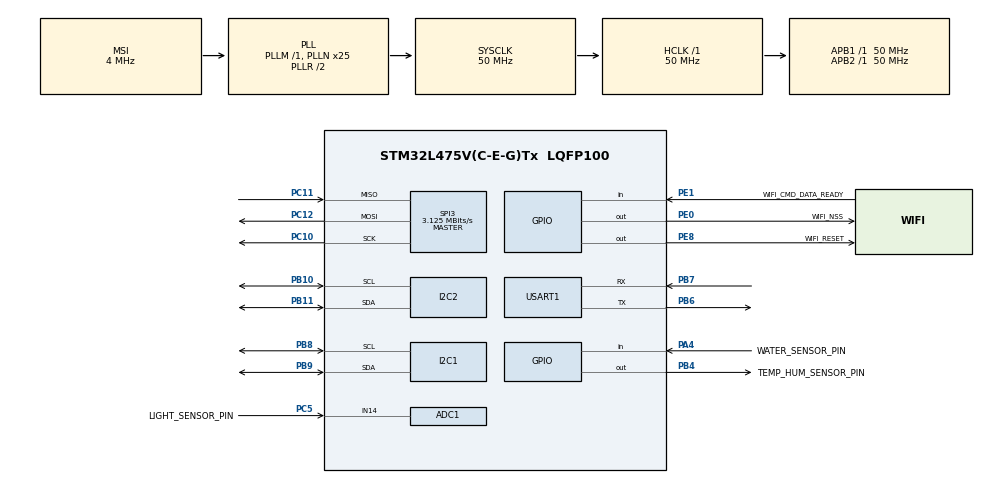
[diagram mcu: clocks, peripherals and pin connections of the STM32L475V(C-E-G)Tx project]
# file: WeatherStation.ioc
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ADC1.Channel-0\#ChannelRegularConversion=ADC_CHANNEL_14
ADC1.NbrOfConversionFlag=1
ADC1.OffsetNumber-0\#ChannelRegularConversion=ADC_OFFSET_NONE
ADC1.Rank-0\#ChannelRegularConversion=1
ADC1.SamplingTime-0\#ChannelRegularConversion=ADC_SAMPLETIME_2CYCLES_5
ADC1.master=1
I2C1.Timing=0x00C0EAFF
I2C2.Timing=0x00C0EAFF
IWDG.Prescaler=IWDG_PRESCALER_256
IWDG.Reload=2500
IWDG.Window=2500
Mcu.Family=STM32L4
Mcu.Name=STM32L475V(C-E-G)Tx
Mcu.Package=LQFP100
NVIC.PriorityGroup=NVIC_PRIORITYGROUP_4
NVIC.TIM1_UP_TIM16_IRQn=true\:15\:0\:false\:false\:true\:false\:true
NVIC.TimeBase=TIM1_UP_TIM16_IRQn
NVIC.TimeBaseIP=TIM1
PA4.GPIO_Label=WATER_SENSOR_PIN
PA4.Signal=GPIO_Input
PB10.GPIO_Pu=GPIO_PULLUP
PB10.Mode=I2C
PB10.Signal=I2C2_SCL
PB11.GPIO_Pu=GPIO_PULLUP
PB11.Mode=I2C
PB11.Signal=I2C2_SDA
PB4\ (NJTRST).GPIO_Label=TEMP_HUM_SENSOR_PIN
PB4\ (NJTRST).GPIO_ModeDefaultOutputPP=GPIO_MODE_OUTPUT_PP
PB4\ (NJTRST).PinState=GPIO_PIN_SET
PB4\ (NJTRST).Signal=GPIO_Output
PB6.Mode=Asynchronous
PB6.Signal=USART1_TX
PB7.Mode=Asynchronous
PB7.Signal=USART1_RX
PB8.Mode=I2C
PB8.Signal=I2C1_SCL
PB9.Mode=I2C
PB9.Signal=I2C1_SDA
PC10.Mode=Full_Duplex_Master
PC10.Signal=SPI3_SCK
PC11.Mode=Full_Duplex_Master
PC11.Signal=SPI3_MISO
PC12.Mode=Full_Duplex_Master
PC12.Signal=SPI3_MOSI
PC5.GPIO_Label=LIGHT_SENSOR_PIN
PC5.Signal=ADCx_IN14
PE0.GPIO_Label=WIFI_NSS
PE0.Signal=GPIO_Output
PE1.GPIO_Label=WIFI_CMD_DATA_READY
PE1.Signal=GPIO_Input
PE8.GPIO_Label=WIFI_RESET
PE8.Signal=GPIO_Output
ProjectManager.HeapSize=0x200
ProjectManager.StackSize=0x400
ProjectManager.TargetToolchain=STM32CubeIDE
RCC.ADCFreq_Value=32000000
RCC.AHBFreq_Value=50000000
RCC.APB1Freq_Value=50000000
RCC.APB1TimFreq_Value=50000000
RCC.APB2Freq_Value=50000000
RCC.APB2TimFreq_Value=50000000
RCC.CortexFreq_Value=50000000
RCC.HCLKFreq_Value=50000000
RCC.HSE_VALUE=8000000
RCC.HSI_VALUE=16000000
RCC.LSE_VALUE=32768
RCC.MSI_VALUE=4000000
RCC.PLLN=25
RCC.PLLSAI1N=16
RCC.SYSCLKFreq_VALUE=50000000
RCC.SYSCLKSource=RCC_SYSCLKSOURCE_PLLCLK
RCC.USBFreq_Value=32000000
RCC.VCOOutputFreq_Value=100000000
SH.ADCx_IN14.0=ADC1_IN14,IN14-Single-Ended
SPI3.BaudRatePrescaler=SPI_BAUDRATEPRESCALER_16
SPI3.CalculateBaudRate=3.125 MBits/s
SPI3.DataSize=SPI_DATASIZE_16BIT
SPI3.Direction=SPI_DIRECTION_2LINES
SPI3.Mode=SPI_MODE_MASTER
SPI3.VirtualType=VM_MASTER
TIM6.Prescaler=50
USART1.VirtualMode-Asynchronous=VM_ASYNC
VP_IWDG_VS_IWDG.Mode=IWDG_Activate
VP_RTC_VS_RTC_Activate.Mode=RTC_Enabled
VP_RTC_VS_RTC_WakeUp_intern.Mode=WakeUp
VP_SYS_VS_tim1.Mode=TIM1
VP_TIM6_VS_ClockSourceINT.Mode=Enable_Timer
board=B-L475E-IOT01A1

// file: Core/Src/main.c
/* USER CODE BEGIN Header */
/**
  ******************************************************************************
  * @file           : main.c
  * @brief          : Main program body
  ******************************************************************************
  * @attention
  *
  * <h2><center>&copy; Copyright (c) 2021 STMicroelectronics.
  * All rights reserved.</center></h2>
  *
  * This software component is licensed by ST under BSD 3-Clause license,
  * the "License"; You may not use this file except in compliance with the
  * License. You may obtain a copy of the License at:
  *                        opensource.org/licenses/BSD-3-Clause
  *
  ******************************************************************************
  */

/**
 * Breakout Board Pins:
 * A0: Light Sensor
 * D5: Temperature/Humidity Sensor
 * D7: Water Sensor
 */

/* USER CODE END Header */
#include "main.h"

/* USER CODE BEGIN Includes */
#include <stdio.h>
#include "lps22hb.h"
#include "lps22hb_ex.h"
#include "helper_functions.h"
#include "DHT.h"
#include "wifi.h"
#include "credentials.h"
/* USER CODE END Includes */

/* USER CODE BEGIN PD */

/* Define WiFi SSID and passphrase in credentials.h header file or! down below */
// #define WIFI_SSID ""
// #define WIFI_PASSPHRASE ""

#define REMOTE_IP_ADDRESS "broker.hivemq.com"
#define SUBSCRIBE_TOPIC ""
#define PUBLISH_TOPIC "ethz/weather_station"

/* USER CODE END PD */

ADC_HandleTypeDef hadc1;

I2C_HandleTypeDef hi2c1;
I2C_HandleTypeDef hi2c2;

IWDG_HandleTypeDef hiwdg;

RTC_HandleTypeDef hrtc;

SPI_HandleTypeDef hspi3;

TIM_HandleTypeDef htim6;

UART_HandleTypeDef huart1;

/* USER CODE BEGIN PV */

/* WiFi handle */
WIFI_HandleTypeDef hwifi;

/* USER CODE END PV */

void SystemClock_Config(void);
static void MX_GPIO_Init(void);
static void MX_I2C1_Init(void);
static void MX_ADC1_Init(void);
static void MX_USART1_UART_Init(void);
static void MX_I2C2_Init(void);
static void MX_TIM6_Init(void);
static void MX_SPI3_Init(void);
static void MX_IWDG_Init(void);
static void MX_RTC_Init(void);
/* USER CODE BEGIN PFP */

/* Function prototypes for LPS22HB communication */
lps22hb_err_t lps22hb_read(uint8_t reg, uint8_t *buf, uint8_t bytes);
lps22hb_err_t lps22hb_write(uint8_t reg, uint8_t *buf, uint8_t bytes);
void check_lps22hb_error(lps22hb_err_t err);
void sleepDelay(uint16_t delaytime);

/* Function prototypes for WiFi */
void USR_WIFI_Init();

/* USER CODE END PFP */

/* USER CODE BEGIN 0 */
lps22hb_t lps22hb = LPS22HB_DEFAULT_REG_VALUES;

/* USER CODE END 0 */

int main(void)
{

  /* MCU Configuration--------------------------------------------------------*/

  /* Reset of all peripherals, Initializes the Flash interface and the Systick. */
  HAL_Init();

  /* Configure the system clock */
  SystemClock_Config();

  /* Initialize all configured peripherals */
  MX_GPIO_Init();
  MX_I2C1_Init();
  MX_ADC1_Init();
  MX_USART1_UART_Init();
  MX_I2C2_Init();
  MX_TIM6_Init();
  MX_SPI3_Init();
  MX_IWDG_Init();
  MX_RTC_Init();
  /* USER CODE BEGIN 2 */
  if (__HAL_PWR_GET_FLAG(PWR_FLAG_SB) != RESET)
  {
	  __HAL_PWR_CLEAR_FLAG(PWR_FLAG_SB);  // clear the flag

	  printf("Starting up from standby mode..\r\n");
	  /** Deactivate the RTC wakeup  **/
	  HAL_RTCEx_DeactivateWakeUpTimer(&hrtc);
  }

  // Start Timer
  HAL_TIM_Base_Start(&htim6);

  /* Setup LPS22HB */
  lps22hb.comm.read = lps22hb_read;
  lps22hb.comm.write= lps22hb_write;

  printf("Setting up LPS22HB communication...\r\n");
  if (lps22hb_check_communication(&lps22hb) != LPS22HB_SUCCESS) {
	  printf("Error setting up LPS22HB communication...\r\n");
  }

  lps22hb.reg.ctrl_reg1.odr = LPS22HB_ODR_1Hz; // turns on the sensor
  lps22hb_write_reg(&lps22hb, LPS22HB_CTRL_REG1);

  /* Setup WiFi connection */
  USR_WIFI_Init();

  /* Variables/Buffers */
  float light = 0;
  float pressure = 0;

  DHT_DataTypedef DHT22_Data;
  float temperature, humidity;
  uint8_t water = 0;

  /* USER CODE END 2 */

  /* Infinite loop */
  /* USER CODE BEGIN WHILE */
  while (1)
  {
	/* PRESSURE SENSOR: LPS22HB */
	// Read status registers
	check_lps22hb_error(lps22hb_read_reg(&lps22hb, LPS22HB_STATUS));

	if(lps22hb.reg.status.p_da){ //check if pressure data is available
		check_lps22hb_error(lps22hb_get_press_data(&lps22hb, &pressure)); //read the data, and save in pressure as hPa
	}

	/* LIGHT SENSOR */
	light = read_light_sensor(&hadc1, Error_Handler);

	/* Print/Transmit Sensor Data */
	printf("Light: %.3f\r\n", light);
	printf("Pressure: %.3f hPa\r\n", pressure);

	/* WATER SENSOR */
	water = !HAL_GPIO_ReadPin(WATER_SENSOR_PIN_GPIO_Port, WATER_SENSOR_PIN_Pin);
	if(water){
		printf("It's raining :(\r\n");
	}
	else{
		printf("It's not raining :)\r\n");
	}

	/* TEMPERATURE/HUMIDITY SENSOR */
	DHT_GetData(&DHT22_Data);
	temperature = DHT22_Data.Temperature;
	humidity = DHT22_Data.Humidity;
	printf("Temperature: %.3f\r\n", temperature);
	printf("Humidity: %.3f\r\n", humidity);

	/* Send data over WiFi */
	char payload[200];
	snprintf(payload, 200, "{ \"temperature\": %.4f, \"humidity\": %.4f, \"water\": %d, \"light\": %.4f, \"pressure\": %.4f }", temperature, humidity, water, light, pressure);
	printf("%s\r\n", payload);
	if(WIFI_MQTTPublish(&hwifi, payload, strlen(payload)) != WIFI_OK) {
		printf("Error sending data to MQTT broker...\r\n");
	}

	/* Reset watchdog timer */
	HAL_IWDG_Refresh(&hiwdg);

	sleepDelay(5000);

    /* USER CODE END WHILE */

  }
}

void SystemClock_Config(void)
{
  RCC_OscInitTypeDef RCC_OscInitStruct = {0};
  RCC_ClkInitTypeDef RCC_ClkInitStruct = {0};

  /** Configure the main internal regulator output voltage
  */
  if (HAL_PWREx_ControlVoltageScaling(PWR_REGULATOR_VOLTAGE_SCALE1) != HAL_OK)
  {
    Error_Handler();
  }
  /** Initializes the RCC Oscillators according to the specified parameters
  * in the RCC_OscInitTypeDef structure.
  */
  RCC_OscInitStruct.OscillatorType = RCC_OSCILLATORTYPE_LSI|RCC_OSCILLATORTYPE_MSI;
  RCC_OscInitStruct.LSIState = RCC_LSI_ON;
  RCC_OscInitStruct.MSIState = RCC_MSI_ON;
  RCC_OscInitStruct.MSICalibrationValue = 0;
  RCC_OscInitStruct.MSIClockRange = RCC_MSIRANGE_6;
  RCC_OscInitStruct.PLL.PLLState = RCC_PLL_ON;
  RCC_OscInitStruct.PLL.PLLSource = RCC_PLLSOURCE_MSI;
  RCC_OscInitStruct.PLL.PLLM = 1;
  RCC_OscInitStruct.PLL.PLLN = 25;
  RCC_OscInitStruct.PLL.PLLP = RCC_PLLP_DIV7;
  RCC_OscInitStruct.PLL.PLLQ = RCC_PLLQ_DIV2;
  RCC_OscInitStruct.PLL.PLLR = RCC_PLLR_DIV2;
  if (HAL_RCC_OscConfig(&RCC_OscInitStruct) != HAL_OK)
  {
    Error_Handler();
  }
  /** Initializes the CPU, AHB and APB buses clocks
  */
  RCC_ClkInitStruct.ClockType = RCC_CLOCKTYPE_HCLK|RCC_CLOCKTYPE_SYSCLK
                              |RCC_CLOCKTYPE_PCLK1|RCC_CLOCKTYPE_PCLK2;
  RCC_ClkInitStruct.SYSCLKSource = RCC_SYSCLKSOURCE_PLLCLK;
  RCC_ClkInitStruct.AHBCLKDivider = RCC_SYSCLK_DIV1;
  RCC_ClkInitStruct.APB1CLKDivider = RCC_HCLK_DIV1;
  RCC_ClkInitStruct.APB2CLKDivider = RCC_HCLK_DIV1;

  if (HAL_RCC_ClockConfig(&RCC_ClkInitStruct, FLASH_LATENCY_3) != HAL_OK)
  {
    Error_Handler();
  }
}

static void MX_ADC1_Init(void)
{

  ADC_MultiModeTypeDef multimode = {0};
  ADC_ChannelConfTypeDef sConfig = {0};

  /** Common config
  */
  hadc1.Instance = ADC1;
  hadc1.Init.ClockPrescaler = ADC_CLOCK_ASYNC_DIV1;
  hadc1.Init.Resolution = ADC_RESOLUTION_12B;
  hadc1.Init.DataAlign = ADC_DATAALIGN_RIGHT;
  hadc1.Init.ScanConvMode = ADC_SCAN_DISABLE;
  hadc1.Init.EOCSelection = ADC_EOC_SINGLE_CONV;
  hadc1.Init.LowPowerAutoWait = DISABLE;
  hadc1.Init.ContinuousConvMode = DISABLE;
  hadc1.Init.NbrOfConversion = 1;
  hadc1.Init.DiscontinuousConvMode = DISABLE;
  hadc1.Init.ExternalTrigConv = ADC_SOFTWARE_START;
  hadc1.Init.ExternalTrigConvEdge = ADC_EXTERNALTRIGCONVEDGE_NONE;
  hadc1.Init.DMAContinuousRequests = DISABLE;
  hadc1.Init.Overrun = ADC_OVR_DATA_PRESERVED;
  hadc1.Init.OversamplingMode = DISABLE;
  if (HAL_ADC_Init(&hadc1) != HAL_OK)
  {
    Error_Handler();
  }
  /** Configure the ADC multi-mode
  */
  multimode.Mode = ADC_MODE_INDEPENDENT;
  if (HAL_ADCEx_MultiModeConfigChannel(&hadc1, &multimode) != HAL_OK)
  {
    Error_Handler();
  }
  /** Configure Regular Channel
  */
  sConfig.Channel = ADC_CHANNEL_14;
  sConfig.Rank = ADC_REGULAR_RANK_1;
  sConfig.SamplingTime = ADC_SAMPLETIME_2CYCLES_5;
  sConfig.SingleDiff = ADC_SINGLE_ENDED;
  sConfig.OffsetNumber = ADC_OFFSET_NONE;
  sConfig.Offset = 0;
  if (HAL_ADC_ConfigChannel(&hadc1, &sConfig) != HAL_OK)
  {
    Error_Handler();
  }

}

static void MX_I2C1_Init(void)
{

  hi2c1.Instance = I2C1;
  hi2c1.Init.Timing = 0x00C0EAFF;
  hi2c1.Init.OwnAddress1 = 0;
  hi2c1.Init.AddressingMode = I2C_ADDRESSINGMODE_7BIT;
  hi2c1.Init.DualAddressMode = I2C_DUALADDRESS_DISABLE;
  hi2c1.Init.OwnAddress2 = 0;
  hi2c1.Init.OwnAddress2Masks = I2C_OA2_NOMASK;
  hi2c1.Init.GeneralCallMode = I2C_GENERALCALL_DISABLE;
  hi2c1.Init.NoStretchMode = I2C_NOSTRETCH_DISABLE;
  if (HAL_I2C_Init(&hi2c1) != HAL_OK)
  {
    Error_Handler();
  }
  /** Configure Analogue filter
  */
  if (HAL_I2CEx_ConfigAnalogFilter(&hi2c1, I2C_ANALOGFILTER_ENABLE) != HAL_OK)
  {
    Error_Handler();
  }
  /** Configure Digital filter
  */
  if (HAL_I2CEx_ConfigDigitalFilter(&hi2c1, 0) != HAL_OK)
  {
    Error_Handler();
  }

}

static void MX_I2C2_Init(void)
{

  hi2c2.Instance = I2C2;
  hi2c2.Init.Timing = 0x00C0EAFF;
  hi2c2.Init.OwnAddress1 = 0;
  hi2c2.Init.AddressingMode = I2C_ADDRESSINGMODE_7BIT;
  hi2c2.Init.DualAddressMode = I2C_DUALADDRESS_DISABLE;
  hi2c2.Init.OwnAddress2 = 0;
  hi2c2.Init.OwnAddress2Masks = I2C_OA2_NOMASK;
  hi2c2.Init.GeneralCallMode = I2C_GENERALCALL_DISABLE;
  hi2c2.Init.NoStretchMode = I2C_NOSTRETCH_DISABLE;
  if (HAL_I2C_Init(&hi2c2) != HAL_OK)
  {
    Error_Handler();
  }
  /** Configure Analogue filter
  */
  if (HAL_I2CEx_ConfigAnalogFilter(&hi2c2, I2C_ANALOGFILTER_ENABLE) != HAL_OK)
  {
    Error_Handler();
  }
  /** Configure Digital filter
  */
  if (HAL_I2CEx_ConfigDigitalFilter(&hi2c2, 0) != HAL_OK)
  {
    Error_Handler();
  }

}

static void MX_IWDG_Init(void)
{

  hiwdg.Instance = IWDG;
  hiwdg.Init.Prescaler = IWDG_PRESCALER_256;
  hiwdg.Init.Window = 2500;
  hiwdg.Init.Reload = 2500;
  if (HAL_IWDG_Init(&hiwdg) != HAL_OK)
  {
    Error_Handler();
  }

}

static void MX_RTC_Init(void)
{

  /** Initialize RTC Only
  */
  hrtc.Instance = RTC;
  hrtc.Init.HourFormat = RTC_HOURFORMAT_24;
  hrtc.Init.AsynchPrediv = 127;
  hrtc.Init.SynchPrediv = 255;
  hrtc.Init.OutPut = RTC_OUTPUT_DISABLE;
  hrtc.Init.OutPutRemap = RTC_OUTPUT_REMAP_NONE;
  hrtc.Init.OutPutPolarity = RTC_OUTPUT_POLARITY_HIGH;
  hrtc.Init.OutPutType = RTC_OUTPUT_TYPE_OPENDRAIN;
  if (HAL_RTC_Init(&hrtc) != HAL_OK)
  {
    Error_Handler();
  }
  /** Enable the WakeUp
  */
  /*if (HAL_RTCEx_SetWakeUpTimer(&hrtc, 0, RTC_WAKEUPCLOCK_RTCCLK_DIV16) != HAL_OK)
  {
    Error_Handler();
  }*/

}

static void MX_SPI3_Init(void)
{

  /* SPI3 parameter configuration*/
  hspi3.Instance = SPI3;
  hspi3.Init.Mode = SPI_MODE_MASTER;
  hspi3.Init.Direction = SPI_DIRECTION_2LINES;
  hspi3.Init.DataSize = SPI_DATASIZE_16BIT;
  hspi3.Init.CLKPolarity = SPI_POLARITY_LOW;
  hspi3.Init.CLKPhase = SPI_PHASE_1EDGE;
  hspi3.Init.NSS = SPI_NSS_SOFT;
  hspi3.Init.BaudRatePrescaler = SPI_BAUDRATEPRESCALER_16;
  hspi3.Init.FirstBit = SPI_FIRSTBIT_MSB;
  hspi3.Init.TIMode = SPI_TIMODE_DISABLE;
  hspi3.Init.CRCCalculation = SPI_CRCCALCULATION_DISABLE;
  hspi3.Init.CRCPolynomial = 7;
  hspi3.Init.CRCLength = SPI_CRC_LENGTH_DATASIZE;
  hspi3.Init.NSSPMode = SPI_NSS_PULSE_ENABLE;
  if (HAL_SPI_Init(&hspi3) != HAL_OK)
  {
    Error_Handler();
  }

}

static void MX_TIM6_Init(void)
{

  TIM_MasterConfigTypeDef sMasterConfig = {0};

  /* USER CODE BEGIN TIM6_Init 1 */
  // 50 in decimal is 0x32 in hex :)
  /* USER CODE END TIM6_Init 1 */
  htim6.Instance = TIM6;
  htim6.Init.Prescaler = 50;
  htim6.Init.CounterMode = TIM_COUNTERMODE_UP;
  htim6.Init.Period = 65535;
  htim6.Init.AutoReloadPreload = TIM_AUTORELOAD_PRELOAD_DISABLE;
  if (HAL_TIM_Base_Init(&htim6) != HAL_OK)
  {
    Error_Handler();
  }
  sMasterConfig.MasterOutputTrigger = TIM_TRGO_RESET;
  sMasterConfig.MasterSlaveMode = TIM_MASTERSLAVEMODE_DISABLE;
  if (HAL_TIMEx_MasterConfigSynchronization(&htim6, &sMasterConfig) != HAL_OK)
  {
    Error_Handler();
  }

}

static void MX_USART1_UART_Init(void)
{

  huart1.Instance = USART1;
  huart1.Init.BaudRate = 115200;
  huart1.Init.WordLength = UART_WORDLENGTH_8B;
  huart1.Init.StopBits = UART_STOPBITS_1;
  huart1.Init.Parity = UART_PARITY_NONE;
  huart1.Init.Mode = UART_MODE_TX_RX;
  huart1.Init.HwFlowCtl = UART_HWCONTROL_NONE;
  huart1.Init.OverSampling = UART_OVERSAMPLING_16;
  huart1.Init.OneBitSampling = UART_ONE_BIT_SAMPLE_DISABLE;
  huart1.AdvancedInit.AdvFeatureInit = UART_ADVFEATURE_NO_INIT;
  if (HAL_UART_Init(&huart1) != HAL_OK)
  {
    Error_Handler();
  }

}

static void MX_GPIO_Init(void)
{
  GPIO_InitTypeDef GPIO_InitStruct = {0};

  /* GPIO Ports Clock Enable */
  __HAL_RCC_GPIOA_CLK_ENABLE();
  __HAL_RCC_GPIOC_CLK_ENABLE();
  __HAL_RCC_GPIOE_CLK_ENABLE();
  __HAL_RCC_GPIOB_CLK_ENABLE();

  /*Configure GPIO pin Output Level */
  HAL_GPIO_WritePin(GPIOE, WIFI_RESET_Pin|WIFI_NSS_Pin, GPIO_PIN_RESET);

  /*Configure GPIO pin Output Level */
  HAL_GPIO_WritePin(TEMP_HUM_SENSOR_PIN_GPIO_Port, TEMP_HUM_SENSOR_PIN_Pin, GPIO_PIN_SET);

  /*Configure GPIO pin : WATER_SENSOR_PIN_Pin */
  GPIO_InitStruct.Pin = WATER_SENSOR_PIN_Pin;
  GPIO_InitStruct.Mode = GPIO_MODE_INPUT;
  GPIO_InitStruct.Pull = GPIO_NOPULL;
  HAL_GPIO_Init(WATER_SENSOR_PIN_GPIO_Port, &GPIO_InitStruct);

  /*Configure GPIO pins : WIFI_RESET_Pin WIFI_NSS_Pin */
  GPIO_InitStruct.Pin = WIFI_RESET_Pin|WIFI_NSS_Pin;
  GPIO_InitStruct.Mode = GPIO_MODE_OUTPUT_PP;
  GPIO_InitStruct.Pull = GPIO_NOPULL;
  GPIO_InitStruct.Speed = GPIO_SPEED_FREQ_LOW;
  HAL_GPIO_Init(GPIOE, &GPIO_InitStruct);

  /*Configure GPIO pin : TEMP_HUM_SENSOR_PIN_Pin */
  GPIO_InitStruct.Pin = TEMP_HUM_SENSOR_PIN_Pin;
  GPIO_InitStruct.Mode = GPIO_MODE_OUTPUT_PP;
  GPIO_InitStruct.Pull = GPIO_NOPULL;
  GPIO_InitStruct.Speed = GPIO_SPEED_FREQ_LOW;
  HAL_GPIO_Init(TEMP_HUM_SENSOR_PIN_GPIO_Port, &GPIO_InitStruct);

  /*Configure GPIO pin : WIFI_CMD_DATA_READY_Pin */
  GPIO_InitStruct.Pin = WIFI_CMD_DATA_READY_Pin;
  GPIO_InitStruct.Mode = GPIO_MODE_INPUT;
  GPIO_InitStruct.Pull = GPIO_NOPULL;
  HAL_GPIO_Init(WIFI_CMD_DATA_READY_GPIO_Port, &GPIO_InitStruct);

}

/* USER CODE BEGIN 4 */
lps22hb_err_t lps22hb_read(uint8_t reg, uint8_t *buf, uint8_t bytes){
	// Read address taken from schematics
	return 	HAL_I2C_Mem_Read(&hi2c2, 0b10111011, reg, 1, buf, bytes, HAL_MAX_DELAY);
}
lps22hb_err_t lps22hb_write(uint8_t reg, uint8_t *buf, uint8_t bytes){
	// Write address taken from schematics
	return 	HAL_I2C_Mem_Write(&hi2c2, 0b10111010, reg, 1, buf, bytes, HAL_MAX_DELAY);
}

void check_lps22hb_error(lps22hb_err_t err) {
	if (err != LPS22HB_SUCCESS) {
		printf("LPS22HB error: %u\r\n", err);
	}
}

void USR_WIFI_Init(){
    printf("Initialising WiFi Module...\r\n");

    //CONNECTION
    hwifi.handle = &hspi3;
    hwifi.ssid = WIFI_SSID;
    hwifi.passphrase = WIFI_PASSPHRASE;
    hwifi.securityType = WPA_MIXED;
    hwifi.DHCP = SET;
    hwifi.ipStatus = IP_V4;
    hwifi.transportProtocol = WIFI_TCP_PROTOCOL;
    hwifi.port = 8083;
    hwifi.remotePort = 1883;

    //MQTT
    sprintf(hwifi.remoteIpAddress, REMOTE_IP_ADDRESS);
    sprintf(hwifi.mqtt.clientId, "STM32");
    sprintf(hwifi.mqtt.subscribeTopic, SUBSCRIBE_TOPIC);
    sprintf(hwifi.mqtt.publishTopic, PUBLISH_TOPIC);
    hwifi.mqtt.keepAlive = 3000;
    hwifi.mqtt.securityMode = WIFI_MQTT_SECURITY_NONE;

    // Intialise the driver and module:
    WIFI_Init(&hwifi);

    // Join the specified network:
    WIFI_JoinNetwork(&hwifi);

    // Connect to the MQTT broker:
    WIFI_MQTTClientInit(&hwifi);
    printf("Initialized!\r\n");
}

void sleepDelay(uint16_t delaytime){

    if(delaytime < 25) {
        HAL_Delay(delaytime);
        return;
    }
    else {
        if(HAL_RTCEx_DeactivateWakeUpTimer(&hrtc) != HAL_OK) {
                    HAL_Delay(delaytime);
                    return;
         }
        __HAL_PWR_CLEAR_FLAG(PWR_FLAG_WU);
        __HAL_RTC_WAKEUPTIMER_CLEAR_FLAG(&hrtc, RTC_FLAG_WUTF);
        uint32_t counter = (delaytime/1000.0)/(16.0/32000);//(uint32_t)(delaytime * 1000) /432;
        if(HAL_RTCEx_SetWakeUpTimer_IT(&hrtc, (uint16_t)counter, RTC_WAKEUPCLOCK_RTCCLK_DIV16)!=HAL_OK) {
                    HAL_Delay(delaytime);
                    return;
                }

        printf("Entering standby mode\r\n...");
        HAL_SuspendTick();
        HAL_PWR_EnterSTANDBYMode();
        HAL_ResumeTick();
    }

}

/* USER CODE END 4 */

void HAL_TIM_PeriodElapsedCallback(TIM_HandleTypeDef *htim)
{
  if (htim->Instance == TIM1) {
    HAL_IncTick();
  }
}

void Error_Handler(void)
{
  __disable_irq();
  while (1)
  {
  }
}

/************************ (C) COPYRIGHT STMicroelectronics *****END OF FILE****/
